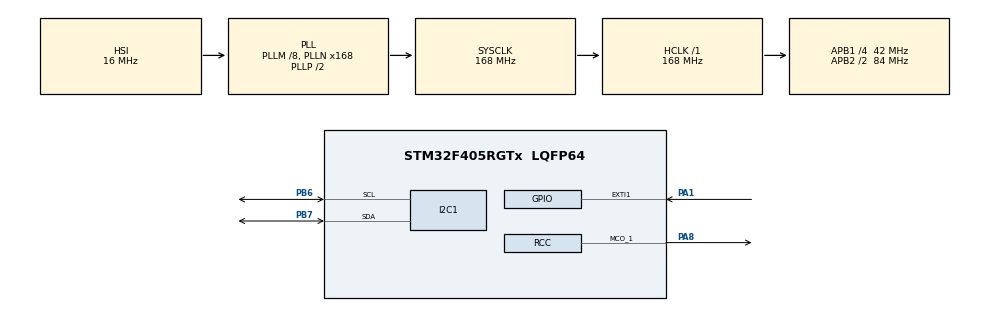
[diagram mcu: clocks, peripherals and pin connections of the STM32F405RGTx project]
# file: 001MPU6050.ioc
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I2C1.I2C_Mode=I2C_Standard
Mcu.Family=STM32F4
Mcu.Name=STM32F405RGTx
Mcu.Package=LQFP64
NVIC.EXTI1_IRQn=true\:1\:0\:true\:false\:true\:true\:true\:true
NVIC.PriorityGroup=NVIC_PRIORITYGROUP_4
PA1.GPIO_ModeDefaultEXTI=GPIO_MODE_IT_RISING_FALLING
PA1.Signal=GPXTI1
PA13.Mode=Serial_Wire
PA13.Signal=SYS_JTMS-SWDIO
PA14.Mode=Serial_Wire
PA14.Signal=SYS_JTCK-SWCLK
PA8.Mode=Clock-out-1
PA8.Signal=RCC_MCO_1
PB6.Mode=I2C
PB6.Signal=I2C1_SCL
PB7.Mode=I2C
PB7.Signal=I2C1_SDA
PC14-OSC32_IN.Mode=LSE-External-Oscillator
PC14-OSC32_IN.Signal=RCC_OSC32_IN
PC15-OSC32_OUT.Mode=LSE-External-Oscillator
PC15-OSC32_OUT.Signal=RCC_OSC32_OUT
PH0-OSC_IN.Mode=HSE-External-Oscillator
PH0-OSC_IN.Signal=RCC_OSC_IN
PH1-OSC_OUT.Mode=HSE-External-Oscillator
PH1-OSC_OUT.Signal=RCC_OSC_OUT
ProjectManager.HeapSize=0x200
ProjectManager.StackSize=0x400
ProjectManager.TargetToolchain=STM32CubeIDE
RCC.48MHZClocksFreq_Value=84000000
RCC.AHBFreq_Value=168000000
RCC.APB1CLKDivider=RCC_HCLK_DIV4
RCC.APB1Freq_Value=42000000
RCC.APB1TimFreq_Value=84000000
RCC.APB2CLKDivider=RCC_HCLK_DIV2
RCC.APB2Freq_Value=84000000
RCC.APB2TimFreq_Value=168000000
RCC.CortexFreq_Value=168000000
RCC.HCLKFreq_Value=168000000
RCC.HSE_VALUE=8000000
RCC.HSI_VALUE=16000000
RCC.PLLM=8
RCC.PLLN=168
RCC.SYSCLKFreq_VALUE=168000000
RCC.SYSCLKSource=RCC_SYSCLKSOURCE_PLLCLK
RCC.VCOOutputFreq_Value=336000000
board=custom

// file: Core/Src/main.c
/* USER CODE BEGIN Header */
/**
  ******************************************************************************
  * @file           : main.c
  * @brief          : Main program body
  ******************************************************************************
  * @attention
  *
  * Copyright (c) 2026 STMicroelectronics.
  * All rights reserved.
  *
  * This software is licensed under terms that can be found in the LICENSE file
  * in the root directory of this software component.
  * If no LICENSE file comes with this software, it is provided AS-IS.
  *
  ******************************************************************************
  */
/* USER CODE END Header */
#include "main.h"

/* USER CODE BEGIN Includes */
#include <math.h>
/* USER CODE END Includes */

/* USER CODE BEGIN PD */
#define MPU_ADDR				0x68

/*some of MPU registers address*/

#define SMPRT_DIV       		0x19
#define CONFIG          		0x1A
#define GYRO_CONFIG     		0x1B
#define ACCEL_CONFIG    		0x1C

#define INT_PIN_CFG     		0x37
#define PWR_MGMT_1      		0x6B
#define WHO_AM_I        		0x75

#define GYRO_XOUT_H				0x43
#define GYRO_XOUT_L				0x44
#define GYRO_YOUT_H				0x45
#define GYRO_YOUT_L				0x46
#define GYRO_ZOUT_H				0x47
#define GYRO_ZOUT_L				0x48

#define ACCEL_XOUT_H			0x3B
#define ACCEL_XOUT_L			0x3C
#define ACCEL_YOUT_H			0x3D
#define ACCEL_YOUT_L			0x3E
#define ACCEL_ZOUT_H			0x3F
#define ACCEL_ZOUT_L			0x40

/* USER CODE END PD */

I2C_HandleTypeDef hi2c1;

/* USER CODE BEGIN PV */
int16_t gx,gy,gz,ax,ay,az;

float Gx, Gy, Gz, Ax, Ay, Az;

float pitch, roll;

uint32_t current_tick = 0;
/* USER CODE END PV */

void SystemClock_Config(void);
static void MX_GPIO_Init(void);
static void MX_I2C1_Init(void);
/* USER CODE BEGIN PFP */

void MPU_Init(void)
{
	uint8_t reg_data;
	HAL_I2C_Mem_Read(&hi2c1, MPU_ADDR << 1 , WHO_AM_I , I2C_MEMADD_SIZE_8BIT, &reg_data , 3, 1000);

	if(reg_data == 0x70)
	{
		reg_data = 0x01;

		HAL_I2C_Mem_Write(&hi2c1, MPU_ADDR << 1, PWR_MGMT_1, I2C_MEMADD_SIZE_8BIT, &reg_data , 1, 1000);

		reg_data = 0x00;

		HAL_I2C_Mem_Write(&hi2c1, MPU_ADDR << 1, SMPRT_DIV , I2C_MEMADD_SIZE_8BIT, &reg_data , 1, 1000);

		HAL_I2C_Mem_Write(&hi2c1, MPU_ADDR << 1, GYRO_CONFIG , I2C_MEMADD_SIZE_8BIT, &reg_data , 1, 1000);

		HAL_I2C_Mem_Write(&hi2c1, MPU_ADDR << 1, ACCEL_CONFIG, I2C_MEMADD_SIZE_8BIT, &reg_data , 1, 1000);
	}
	else
	{
		while(1)
		{
			;
		}
	}

}

void MPU_Read_Gyro(void)
{
	uint8_t data_gyro[6] = {0};
	HAL_I2C_Mem_Read(&hi2c1, MPU_ADDR << 1, GYRO_XOUT_H , I2C_MEMADD_SIZE_8BIT, data_gyro, 6, 1000);
	gx = ((int16_t)(data_gyro[0]) << 8) | data_gyro[1];
	gy = ((int16_t)(data_gyro[2]) << 8) | data_gyro[3];
	gz = ((int16_t)(data_gyro[4]) << 8) | data_gyro[5];

	Gx = ((float)gx) / 131.0;
	Gy = ((float)gy) / 131.0;
	Gz = ((float)gz) / 131.0;

}

void MPU_Read_Accel(void)
{
	uint8_t data_accel[6] = {0};
	HAL_I2C_Mem_Read(&hi2c1, MPU_ADDR << 1, ACCEL_XOUT_H , I2C_MEMADD_SIZE_8BIT, data_accel, 6, 1000);
	ax = ((int16_t)(data_accel[0]) << 8) | data_accel[1];
	ay = ((int16_t)(data_accel[2]) << 8) | data_accel[3];
	az = ((int16_t)(data_accel[4]) << 8) | data_accel[5];

	Ax = ((float)ax) / 16384.0;
	Ay = ((float)ay) / 16384.0;
	Az = ((float)az) / 16384.0;

}

void complementary_filter (float Ax, float Ay, float Az, float Gx, float Gy, float Gz)
{
	float pitchG = pitch + Gx*(10000/1000000.0f);
	float rollG = roll + Gy*(10000/1000000.0f);

	float pitchA = (atan2(Ay, sqrt(Ax*Ax + Az*Az)) * 18000)/314;
	float rollA = (atan2(Ax, sqrt(Ay*Ay + Az*Az)) * 18000)/314;

	pitch = 0.98*pitchG + 0.02*pitchA;
	roll = 0.98*rollG + 0.02*rollA;
}

void MPU_calibrate(float *gyro_offset)
{
	Gx -= gyro_offset[0];
	Gy -= gyro_offset[1];
	Gz -= gyro_offset[2];
}
/* USER CODE END PFP */

/* USER CODE BEGIN 0 */
volatile float gyro_offset[3] = {0};
uint16_t sample = 0;
/* USER CODE END 0 */

int main(void)
{

  /* MCU Configuration--------------------------------------------------------*/

  /* Reset of all peripherals, Initializes the Flash interface and the Systick. */
  HAL_Init();

  /* Configure the system clock */
  SystemClock_Config();

  /* Initialize all configured peripherals */
  MX_GPIO_Init();
  MX_I2C1_Init();
  /* USER CODE BEGIN 2 */

  MPU_Init();

  /*==============================calculate offset============================== */

  current_tick = HAL_GetTick();
  while(sample++ != 5000)
  {
	  MPU_Read_Accel();
	  MPU_Read_Gyro();

	  gyro_offset[0] += Gx;
	  gyro_offset[1] += Gy;
	  gyro_offset[2] += Gz;

	  HAL_Delay(1);
  }

  for(int i = 0; i<3 ; i++)
  {
	  gyro_offset[i] /=5000.0;
  }

  current_tick = HAL_GetTick() - current_tick;

  /* USER CODE END 2 */

  /* Infinite loop */
  /* USER CODE BEGIN WHILE */
  while (1)
  {

	  MPU_Read_Gyro();
	  MPU_calibrate((float*)gyro_offset);
	  HAL_Delay(1);
//	  complementary_filter(Ax,Ay,Az,Gx,Gy,Gz);

    /* USER CODE END WHILE */

  }
}

void SystemClock_Config(void)
{
  RCC_OscInitTypeDef RCC_OscInitStruct = {0};
  RCC_ClkInitTypeDef RCC_ClkInitStruct = {0};

  /** Configure the main internal regulator output voltage
  */
  __HAL_RCC_PWR_CLK_ENABLE();
  __HAL_PWR_VOLTAGESCALING_CONFIG(PWR_REGULATOR_VOLTAGE_SCALE1);

  /** Initializes the RCC Oscillators according to the specified parameters
  * in the RCC_OscInitTypeDef structure.
  */
  RCC_OscInitStruct.OscillatorType = RCC_OSCILLATORTYPE_HSI;
  RCC_OscInitStruct.HSIState = RCC_HSI_ON;
  RCC_OscInitStruct.HSICalibrationValue = RCC_HSICALIBRATION_DEFAULT;
  RCC_OscInitStruct.PLL.PLLState = RCC_PLL_ON;
  RCC_OscInitStruct.PLL.PLLSource = RCC_PLLSOURCE_HSI;
  RCC_OscInitStruct.PLL.PLLM = 8;
  RCC_OscInitStruct.PLL.PLLN = 168;
  RCC_OscInitStruct.PLL.PLLP = RCC_PLLP_DIV2;
  RCC_OscInitStruct.PLL.PLLQ = 4;
  if (HAL_RCC_OscConfig(&RCC_OscInitStruct) != HAL_OK)
  {
    Error_Handler();
  }

  /** Initializes the CPU, AHB and APB buses clocks
  */
  RCC_ClkInitStruct.ClockType = RCC_CLOCKTYPE_HCLK|RCC_CLOCKTYPE_SYSCLK
                              |RCC_CLOCKTYPE_PCLK1|RCC_CLOCKTYPE_PCLK2;
  RCC_ClkInitStruct.SYSCLKSource = RCC_SYSCLKSOURCE_PLLCLK;
  RCC_ClkInitStruct.AHBCLKDivider = RCC_SYSCLK_DIV1;
  RCC_ClkInitStruct.APB1CLKDivider = RCC_HCLK_DIV4;
  RCC_ClkInitStruct.APB2CLKDivider = RCC_HCLK_DIV2;

  if (HAL_RCC_ClockConfig(&RCC_ClkInitStruct, FLASH_LATENCY_5) != HAL_OK)
  {
    Error_Handler();
  }
  HAL_RCC_MCOConfig(RCC_MCO1, RCC_MCO1SOURCE_HSI, RCC_MCODIV_1);
}

static void MX_I2C1_Init(void)
{

  hi2c1.Instance = I2C1;
  hi2c1.Init.ClockSpeed = 100000;
  hi2c1.Init.DutyCycle = I2C_DUTYCYCLE_2;
  hi2c1.Init.OwnAddress1 = 0;
  hi2c1.Init.AddressingMode = I2C_ADDRESSINGMODE_7BIT;
  hi2c1.Init.DualAddressMode = I2C_DUALADDRESS_DISABLE;
  hi2c1.Init.OwnAddress2 = 0;
  hi2c1.Init.GeneralCallMode = I2C_GENERALCALL_DISABLE;
  hi2c1.Init.NoStretchMode = I2C_NOSTRETCH_DISABLE;
  if (HAL_I2C_Init(&hi2c1) != HAL_OK)
  {
    Error_Handler();
  }

}

static void MX_GPIO_Init(void)
{
  GPIO_InitTypeDef GPIO_InitStruct = {0};

  /* GPIO Ports Clock Enable */
  __HAL_RCC_GPIOC_CLK_ENABLE();
  __HAL_RCC_GPIOH_CLK_ENABLE();
  __HAL_RCC_GPIOA_CLK_ENABLE();
  __HAL_RCC_GPIOB_CLK_ENABLE();

  /*Configure GPIO pin : PA1 */
  GPIO_InitStruct.Pin = GPIO_PIN_1;
  GPIO_InitStruct.Mode = GPIO_MODE_IT_RISING_FALLING;
  GPIO_InitStruct.Pull = GPIO_NOPULL;
  HAL_GPIO_Init(GPIOA, &GPIO_InitStruct);

  /*Configure GPIO pin : PA8 */
  GPIO_InitStruct.Pin = GPIO_PIN_8;
  GPIO_InitStruct.Mode = GPIO_MODE_AF_PP;
  GPIO_InitStruct.Pull = GPIO_NOPULL;
  GPIO_InitStruct.Speed = GPIO_SPEED_FREQ_LOW;
  GPIO_InitStruct.Alternate = GPIO_AF0_MCO;
  HAL_GPIO_Init(GPIOA, &GPIO_InitStruct);

  /* EXTI interrupt init*/
  HAL_NVIC_SetPriority(EXTI1_IRQn, 1, 0);
  HAL_NVIC_EnableIRQ(EXTI1_IRQn);

}

void Error_Handler(void)
{
  __disable_irq();
  while (1)
  {
  }
}
